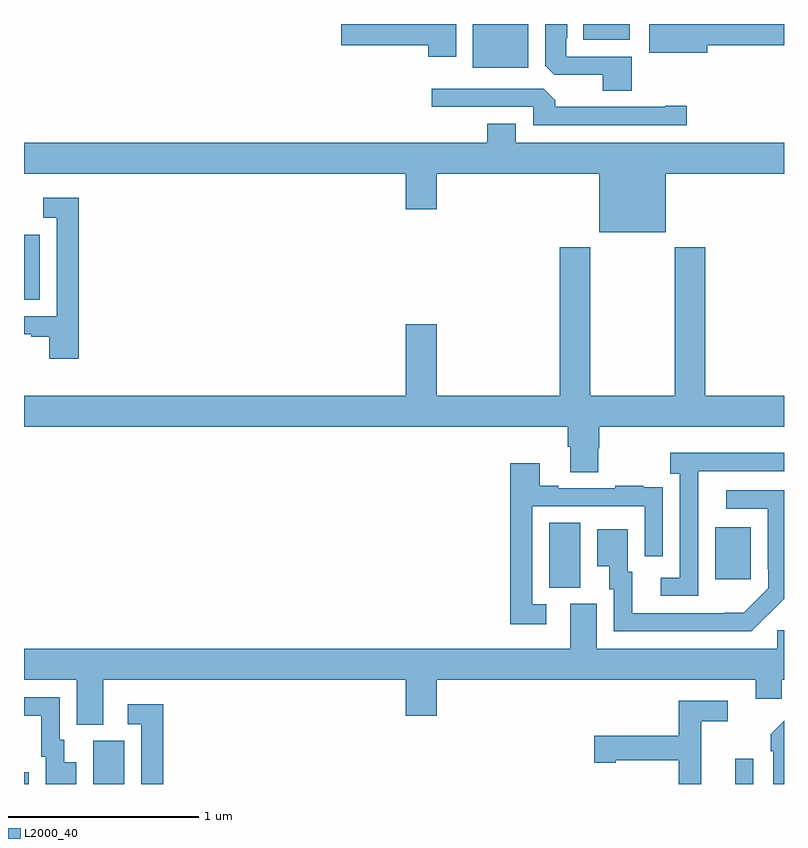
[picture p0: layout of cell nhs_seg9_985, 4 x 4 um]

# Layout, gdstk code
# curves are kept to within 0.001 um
import gdstk
lib = gdstk.Library(unit=1e-6, precision=1e-09)
def R(c, l, rs):  # rectangles x0, y0, x1, y1
    for r in rs: c.add(gdstk.rectangle(r[:2], r[2:], *l))
def P(c, l, *ps):  # polygons
    for p in ps: c.add(gdstk.Polygon(p, *l))
L2000_40 = (2000, 40)

nhs_seg9_985 = lib.new_cell('nhs_seg9_985')
R(nhs_seg9_985, L2000_40, [(163,1234.5,163.026,1234.561), (163.364,1234.5,163.528,1234.728), (166.743,1234.5,166.839,1234.633), (165.764,1235.533,165.928,1235.876), (166.637,1235.577,166.825,1235.851), (163,1237.048,163.084,1237.392), (165.362,1238.27,165.655,1238.5), (165.944,1238.417,166.189,1238.5)])
P(nhs_seg9_985, L2000_40, [(166.597,1238.387),(167,1238.387),(167,1238.5),(166.29,1238.5),(166.29,1238.348),(166.597,1238.348)],
  [(165.274,1238.5),(164.67,1238.5),(164.67,1238.387),(165.128,1238.387),(165.128,1238.328),(165.274,1238.328)],
  [(166.199,1238.328),(165.855,1238.328),(165.855,1238.425),(165.859,1238.425),(165.859,1238.5),(165.743,1238.5),(165.743,1238.281),(165.792,1238.232),(166.046,1238.232),(166.046,1238.149),(166.199,1238.149)],
  [(166.489,1238.069),(166.376,1238.069),(166.376,1238.064),(165.797,1238.064),(165.797,1238.098),(165.735,1238.16),(165.147,1238.16),(165.147,1238.064),(165.681,1238.064),(165.681,1237.968),(166.489,1237.968)],
  [(166.378,1237.712),(167,1237.712),(167,1237.876),(165.589,1237.876),(165.589,1237.975),(165.437,1237.975),(165.437,1237.876),(163,1237.876),(163,1237.712),(165.008,1237.712),(165.008,1237.524),(165.172,1237.524),(165.172,1237.712),(166.028,1237.712),(166.028,1237.403),(166.378,1237.403)],
  [(163.289,1237.585),(163.101,1237.585),(163.101,1237.479),(163.173,1237.479),(163.173,1236.963),(163,1236.963),(163,1236.867),(163.037,1236.867),(163.037,1236.855),(163.133,1236.855),(163.133,1236.738),(163.289,1236.738)],
  [(166.023,1236.267),(166.028,1236.267),(166.028,1236.38),(167,1236.38),(167,1236.544),(166.586,1236.544),(166.586,1237.324),(166.426,1237.324),(166.426,1236.544),(165.981,1236.544),(165.981,1237.324),(165.821,1237.324),(165.821,1236.544),(165.172,1236.544),(165.172,1236.919),(165.008,1236.919),(165.008,1236.544),(163,1236.544),(163,1236.38),(165.863,1236.38),(165.863,1236.274),(165.875,1236.274),(165.875,1236.142),(166.023,1236.142)],
  [(166.548,1235.947),(166.549,1235.947),(166.549,1236.147),(167,1236.147),(167,1236.244),(166.401,1236.244),(166.401,1236.134),(166.452,1236.134),(166.452,1235.586),(166.35,1235.586),(166.35,1235.49),(166.548,1235.49)],
  [(165.748,1235.445),(165.675,1235.445),(165.675,1235.961),(166.266,1235.961),(166.266,1235.7),(166.362,1235.7),(166.362,1235.954),(166.361,1235.954),(166.361,1236.063),(166.259,1236.063),(166.259,1236.07),(166.111,1236.07),(166.111,1236.057),(165.811,1236.057),(165.811,1236.07),(165.715,1236.07),(165.715,1236.187),(165.559,1236.187),(165.559,1235.34),(165.748,1235.34)],
  [(166.919,1235.395),(166.92,1235.394),(167,1235.474),(167,1236.045),(166.695,1236.045),(166.695,1235.949),(166.914,1235.949),(166.914,1235.629),(166.917,1235.629),(166.917,1235.529),(166.789,1235.401),(166.201,1235.4),(166.201,1235.616),(166.177,1235.616),(166.177,1235.842),(166.016,1235.842),(166.016,1235.645),(166.079,1235.645),(166.079,1235.526),(166.104,1235.526),(166.104,1235.304),(166.828,1235.304)],
  [(163.417,1235.048),(165.008,1235.048),(165.008,1234.86),(165.172,1234.86),(165.172,1235.048),(166.85,1235.048),(166.85,1234.95),(166.989,1234.95),(166.989,1235.048),(167,1235.048),(167,1235.31),(166.965,1235.31),(166.965,1235.212),(166.015,1235.212),(166.015,1235.448),(165.875,1235.448),(165.875,1235.212),(163,1235.212),(163,1235.048),(163.277,1235.048),(163.277,1234.813),(163.417,1234.813)],
  [(163.276,1234.615),(163.213,1234.615),(163.213,1234.734),(163.188,1234.734),(163.188,1234.956),(163,1234.956),(163,1234.86),(163.091,1234.86),(163.091,1234.644),(163.115,1234.644),(163.115,1234.5),(163.276,1234.5)],
  [(166.565,1234.83),(166.705,1234.83),(166.705,1234.938),(166.447,1234.938),(166.447,1234.755),(166.002,1234.755),(166.002,1234.613),(166.114,1234.613),(166.114,1234.625),(166.447,1234.625),(166.447,1234.5),(166.565,1234.5)],
  [(163.733,1234.921),(163.545,1234.921),(163.545,1234.815),(163.617,1234.815),(163.617,1234.5),(163.733,1234.5)],
  [(167,1234.832),(166.929,1234.761),(166.929,1234.673),(166.944,1234.673),(166.944,1234.5),(167,1234.5)])

lib.write_gds('nhs_seg9_985.gds')
